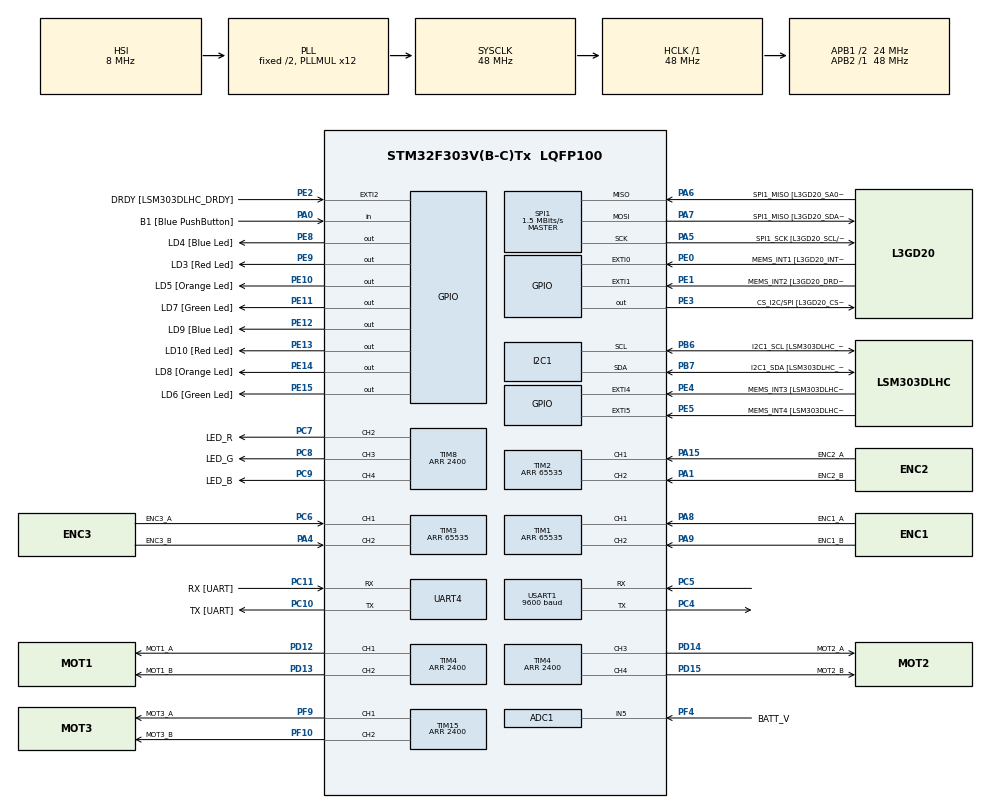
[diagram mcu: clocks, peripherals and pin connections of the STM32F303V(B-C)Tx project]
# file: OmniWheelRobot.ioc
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ADC1.Channel-0\#ChannelRegularConversion=ADC_CHANNEL_5
ADC1.ContinuousConvMode=ENABLE
ADC1.NbrOfConversionFlag=1
ADC1.Offset-0\#ChannelRegularConversion=0
ADC1.OffsetNumber-0\#ChannelRegularConversion=ADC_OFFSET_NONE
ADC1.Rank-0\#ChannelRegularConversion=1
ADC1.SamplingTime-0\#ChannelRegularConversion=ADC_SAMPLETIME_1CYCLE_5
ADC1.master=1
FREERTOS.Tasks01=defaultTask,0,128,StartDefaultTask,Default,NULL,Dynamic,NULL,NULL;sensorTask,0,128,StartSensorTask,Default,NULL,Dynamic,NULL,NULL;controlTask,2,128,StartControlTask,Default,NULL,Dynamic,NULL,NULL
Mcu.Family=STM32F3
Mcu.Name=STM32F303V(B-C)Tx
Mcu.Package=LQFP100
NVIC.PriorityGroup=NVIC_PRIORITYGROUP_4
NVIC.TIM7_IRQn=true\:0\:0\:false\:false\:true\:false
NVIC.TimeBase=TIM7_IRQn
NVIC.TimeBaseIP=TIM7
NVIC.USART1_IRQn=true\:5\:0\:false\:false\:true\:true
PA0.GPIO_Label=B1 [Blue PushButton]
PA0.GPIO_Mode=GPIO_MODE_INPUT
PA0.GPIO_PuPd=GPIO_NOPULL
PA0.Signal=GPIO_Input
PA1.GPIO_Label=ENC2_B
PA1.GPIO_PuPd=GPIO_PULLDOWN
PA1.Signal=S_TIM2_CH2
PA11.GPIO_Label=DM
PA11.Signal=USB_DM
PA12.GPIO_Label=DP
PA12.Signal=USB_DP
PA13.GPIO_Label=SWDIO
PA13.Signal=SYS_JTMS-SWDIO
PA14.GPIO_Label=SWCLK
PA14.Signal=SYS_JTCK-SWCLK
PA15.GPIO_Label=ENC2_A
PA15.GPIO_PuPd=GPIO_PULLDOWN
PA15.Signal=S_TIM2_CH1_ETR
PA4.GPIO_Label=ENC3_B
PA4.GPIO_PuPd=GPIO_PULLDOWN
PA4.Signal=S_TIM3_CH2
PA5.GPIO_Label=SPI1_SCK [L3GD20_SCL/SPC]
PA5.GPIO_Mode=GPIO_MODE_AF_PP
PA5.GPIO_PuPd=GPIO_NOPULL
PA5.GPIO_Speed=GPIO_SPEED_FREQ_LOW
PA5.Mode=Full_Duplex_Master
PA5.Signal=SPI1_SCK
PA6.GPIO_Label=SPI1_MISO [L3GD20_SA0/SDO]
PA6.GPIO_Mode=GPIO_MODE_AF_PP
PA6.GPIO_PuPd=GPIO_NOPULL
PA6.GPIO_Speed=GPIO_SPEED_FREQ_LOW
PA6.Mode=Full_Duplex_Master
PA6.Signal=SPI1_MISO
PA7.GPIO_Label=SPI1_MISO [L3GD20_SDA/SDI/SDO]
PA7.GPIO_Mode=GPIO_MODE_AF_PP
PA7.GPIO_PuPd=GPIO_NOPULL
PA7.GPIO_Speed=GPIO_SPEED_FREQ_LOW
PA7.Mode=Full_Duplex_Master
PA7.Signal=SPI1_MOSI
PA8.GPIO_Label=ENC1_A
PA8.GPIO_PuPd=GPIO_NOPULL
PA8.Signal=S_TIM1_CH1
PA9.GPIO_Label=ENC1_B
PA9.GPIO_PuPd=GPIO_NOPULL
PA9.Signal=S_TIM1_CH2
PB3.GPIO_Label=SWO
PB3.Signal=SYS_JTDO-TRACESWO
PB6.GPIO_FM6=__NULL
PB6.GPIO_Label=I2C1_SCL [LSM303DLHC_SCL]
PB6.GPIO_Mode=GPIO_MODE_AF_OD
PB6.GPIO_PuPd=GPIO_NOPULL
PB6.GPIO_Speed=GPIO_SPEED_FREQ_LOW
PB6.Mode=I2C
PB6.Signal=I2C1_SCL
PB7.GPIO_FM7=__NULL
PB7.GPIO_Label=I2C1_SDA [LSM303DLHC_SDA]
PB7.GPIO_Mode=GPIO_MODE_AF_OD
PB7.GPIO_PuPd=GPIO_NOPULL
PB7.GPIO_Speed=GPIO_SPEED_FREQ_LOW
PB7.Mode=I2C
PB7.Signal=I2C1_SDA
PC10.GPIO_Label=TX [UART]
PC10.Mode=IrDA
PC10.Signal=UART4_TX
PC11.GPIO_Label=RX [UART]
PC11.Mode=IrDA
PC11.Signal=UART4_RX
PC14-OSC32_IN.GPIO_Label=OSC32_IN
PC14-OSC32_IN.Signal=RCC_OSC32_IN
PC15-OSC32_OUT.GPIO_Label=OSC32_OUT
PC15-OSC32_OUT.Signal=RCC_OSC32_OUT
PC4.Mode=Asynchronous
PC4.Signal=USART1_TX
PC5.Mode=Asynchronous
PC5.Signal=USART1_RX
PC6.GPIO_Label=ENC3_A
PC6.GPIO_PuPd=GPIO_PULLDOWN
PC6.Signal=S_TIM3_CH1
PC7.GPIO_Label=LED_R
PC7.Signal=S_TIM8_CH2
PC8.GPIO_Label=LED_G
PC8.Signal=S_TIM8_CH3
PC9.GPIO_Label=LED_B
PC9.Signal=S_TIM8_CH4
PD12.GPIO_Label=MOT1_A
PD12.Signal=S_TIM4_CH1
PD13.GPIO_Label=MOT1_B
PD13.Signal=S_TIM4_CH2
PD14.GPIO_Label=MOT2_A
PD14.Signal=S_TIM4_CH3
PD15.GPIO_Label=MOT2_B
PD15.Signal=S_TIM4_CH4
PE0.GPIO_Label=MEMS_INT1 [L3GD20_INT1]
PE0.GPIO_ModeDefaultEXTI=GPIO_MODE_EVT_RISING
PE0.GPIO_PuPd=GPIO_NOPULL
PE0.Signal=GPXTI0
PE1.GPIO_Label=MEMS_INT2 [L3GD20_DRDY/INT2]
PE1.GPIO_ModeDefaultEXTI=GPIO_MODE_EVT_RISING
PE1.GPIO_PuPd=GPIO_NOPULL
PE1.Signal=GPXTI1
PE10.GPIO_Label=LD5 [Orange Led]
PE10.GPIO_ModeDefaultOutputPP=GPIO_MODE_OUTPUT_PP
PE10.GPIO_PuPd=GPIO_NOPULL
PE10.GPIO_Speed=GPIO_SPEED_FREQ_LOW
PE10.Signal=GPIO_Output
PE11.GPIO_Label=LD7 [Green Led]
PE11.GPIO_ModeDefaultOutputPP=GPIO_MODE_OUTPUT_PP
PE11.GPIO_PuPd=GPIO_NOPULL
PE11.GPIO_Speed=GPIO_SPEED_FREQ_LOW
PE11.Signal=GPIO_Output
PE12.GPIO_Label=LD9 [Blue Led]
PE12.GPIO_ModeDefaultOutputPP=GPIO_MODE_OUTPUT_PP
PE12.GPIO_PuPd=GPIO_NOPULL
PE12.GPIO_Speed=GPIO_SPEED_FREQ_LOW
PE12.Signal=GPIO_Output
PE13.GPIO_Label=LD10 [Red Led]
PE13.GPIO_ModeDefaultOutputPP=GPIO_MODE_OUTPUT_PP
PE13.GPIO_PuPd=GPIO_NOPULL
PE13.GPIO_Speed=GPIO_SPEED_FREQ_LOW
PE13.Signal=GPIO_Output
PE14.GPIO_Label=LD8 [Orange Led]
PE14.GPIO_ModeDefaultOutputPP=GPIO_MODE_OUTPUT_PP
PE14.GPIO_PuPd=GPIO_NOPULL
PE14.GPIO_Speed=GPIO_SPEED_FREQ_LOW
PE14.Signal=GPIO_Output
PE15.GPIO_Label=LD6 [Green Led]
PE15.GPIO_ModeDefaultOutputPP=GPIO_MODE_OUTPUT_PP
PE15.GPIO_PuPd=GPIO_NOPULL
PE15.GPIO_Speed=GPIO_SPEED_FREQ_LOW
PE15.Signal=GPIO_Output
PE2.GPIO_Label=DRDY [LSM303DLHC_DRDY]
PE2.GPIO_ModeDefaultEXTI=GPIO_MODE_EVT_RISING
PE2.GPIO_PuPd=GPIO_NOPULL
PE2.Signal=GPXTI2
PE3.GPIO_Label=CS_I2C/SPI [L3GD20_CS_I2C/SPI]
PE3.GPIO_ModeDefaultOutputPP=GPIO_MODE_OUTPUT_PP
PE3.GPIO_PuPd=GPIO_NOPULL
PE3.GPIO_Speed=GPIO_SPEED_FREQ_LOW
PE3.Signal=GPIO_Output
PE4.GPIO_Label=MEMS_INT3 [LSM303DLHC_INT1]
PE4.GPIO_ModeDefaultEXTI=GPIO_MODE_EVT_RISING
PE4.GPIO_PuPd=GPIO_NOPULL
PE4.Signal=GPXTI4
PE5.GPIO_Label=MEMS_INT4 [LSM303DLHC_INT2]
PE5.GPIO_ModeDefaultEXTI=GPIO_MODE_EVT_RISING
PE5.GPIO_PuPd=GPIO_NOPULL
PE5.Signal=GPXTI5
PE8.GPIO_Label=LD4 [Blue Led]
PE8.GPIO_ModeDefaultOutputPP=GPIO_MODE_OUTPUT_PP
PE8.GPIO_PuPd=GPIO_NOPULL
PE8.GPIO_Speed=GPIO_SPEED_FREQ_LOW
PE8.Signal=GPIO_Output
PE9.GPIO_Label=LD3 [Red Led]
PE9.GPIO_ModeDefaultOutputPP=GPIO_MODE_OUTPUT_PP
PE9.GPIO_PuPd=GPIO_NOPULL
PE9.GPIO_Speed=GPIO_SPEED_FREQ_LOW
PE9.Signal=GPIO_Output
PF0-OSC_IN.GPIO_Label=OSC_IN
PF0-OSC_IN.Signal=RCC_OSC_IN
PF1-OSC_OUT.GPIO_Label=OSC_OUT
PF1-OSC_OUT.Signal=RCC_OSC_OUT
PF10.GPIO_Label=MOT3_B
PF10.Signal=S_TIM15_CH2
PF4.GPIO_Label=BATT_V
PF4.Mode=IN5-Single-Ended
PF4.Signal=ADC1_IN5
PF9.GPIO_Label=MOT3_A
PF9.Signal=S_TIM15_CH1
ProjectManager.HeapSize=0x200
ProjectManager.StackSize=0x400
ProjectManager.TargetToolchain=EWARM
RCC.AHBFreq_Value=48000000
RCC.APB1CLKDivider=RCC_HCLK_DIV2
RCC.APB1Freq_Value=24000000
RCC.APB1TimFreq_Value=48000000
RCC.APB2Freq_Value=48000000
RCC.APB2TimFreq_Value=48000000
RCC.CortexFreq_Value=48000000
RCC.HCLKFreq_Value=48000000
RCC.HSE_VALUE=8000000
RCC.HSI_VALUE=8000000
RCC.LSE_VALUE=32768
RCC.PLLMUL=RCC_PLL_MUL12
RCC.PLLSourceVirtual=RCC_PLLSOURCE_HSI
RCC.SYSCLKFreq_VALUE=48000000
RCC.SYSCLKSourceVirtual=RCC_SYSCLKSOURCE_PLLCLK
RCC.USBFreq_Value=48000000
SH.S_TIM15_CH1.0=TIM15_CH1,PWM Generation1 CH1
SH.S_TIM15_CH2.0=TIM15_CH2,PWM Generation2 CH2
SH.S_TIM1_CH1.0=TIM1_CH1,Encoder_Interface
SH.S_TIM1_CH2.0=TIM1_CH2,Encoder_Interface
SH.S_TIM2_CH1_ETR.0=TIM2_CH1,Encoder_Interface
SH.S_TIM2_CH2.0=TIM2_CH2,Encoder_Interface
SH.S_TIM3_CH1.0=TIM3_CH1,Encoder_Interface
SH.S_TIM3_CH2.0=TIM3_CH2,Encoder_Interface
SH.S_TIM4_CH1.0=TIM4_CH1,PWM Generation1 CH1
SH.S_TIM4_CH2.0=TIM4_CH2,PWM Generation2 CH2
SH.S_TIM4_CH3.0=TIM4_CH3,PWM Generation3 CH3
SH.S_TIM4_CH4.0=TIM4_CH4,PWM Generation4 CH4
SH.S_TIM8_CH2.0=TIM8_CH2,PWM Generation2 CH2
SH.S_TIM8_CH3.0=TIM8_CH3,PWM Generation3 CH3
SH.S_TIM8_CH4.0=TIM8_CH4,PWM Generation4 CH4
SPI1.BaudRatePrescaler=SPI_BAUDRATEPRESCALER_32
SPI1.CalculateBaudRate=1.5 MBits/s
SPI1.Direction=SPI_DIRECTION_2LINES
SPI1.Mode=SPI_MODE_MASTER
SPI1.VirtualType=VM_MASTER
TIM1.EncoderMode=TIM_ENCODERMODE_TI12
TIM1.IC1Filter=3
TIM1.IC1Polarity=TIM_ICPOLARITY_RISING
TIM1.IC2Filter=3
TIM1.IC2Polarity=TIM_ICPOLARITY_RISING
TIM1.Period=65535
TIM15.Channel-PWM\ Generation1\ CH1=TIM_CHANNEL_1
TIM15.Channel-PWM\ Generation2\ CH2=TIM_CHANNEL_2
TIM15.Period=2400
TIM2.EncoderMode=TIM_ENCODERMODE_TI12
TIM2.IC1Filter=3
TIM2.IC1Polarity=TIM_ICPOLARITY_RISING
TIM2.IC2Filter=3
TIM2.IC2Polarity=TIM_ICPOLARITY_RISING
TIM2.Period=65535
TIM3.EncoderMode=TIM_ENCODERMODE_TI12
TIM3.IC1Filter=3
TIM3.IC1Polarity=TIM_ICPOLARITY_RISING
TIM3.IC2Filter=3
TIM3.IC2Polarity=TIM_ICPOLARITY_RISING
TIM3.Period=65535
TIM4.Channel-PWM\ Generation1\ CH1=TIM_CHANNEL_1
TIM4.Channel-PWM\ Generation2\ CH2=TIM_CHANNEL_2
TIM4.Channel-PWM\ Generation3\ CH3=TIM_CHANNEL_3
TIM4.Channel-PWM\ Generation4\ CH4=TIM_CHANNEL_4
TIM4.Period=2400
TIM8.Channel-PWM\ Generation2\ CH2=TIM_CHANNEL_2
TIM8.Channel-PWM\ Generation3\ CH3=TIM_CHANNEL_3
TIM8.Channel-PWM\ Generation4\ CH4=TIM_CHANNEL_4
TIM8.Period=2400
USART1.BaudRate=9600
USART1.VirtualMode-Asynchronous=VM_ASYNC
VP_FREERTOS_VS_ENABLE.Mode=Enabled
VP_SYS_VS_tim7.Mode=TIM7
board=STM32F3DISCOVERY

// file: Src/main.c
/**
  ******************************************************************************
  * File Name          : main.c
  * Description        : Main program body
  ******************************************************************************
  *
  * Copyright (c) 2017 STMicroelectronics International N.V.
  * All rights reserved.
  *
  * Redistribution and use in source and binary forms, with or without
  * modification, are permitted, provided that the following conditions are met:
  *
  * 1. Redistribution of source code must retain the above copyright notice,
  *    this list of conditions and the following disclaimer.
  * 2. Redistributions in binary form must reproduce the above copyright notice,
  *    this list of conditions and the following disclaimer in the documentation
  *    and/or other materials provided with the distribution.
  * 3. Neither the name of STMicroelectronics nor the names of other
  *    contributors to this software may be used to endorse or promote products
  *    derived from this software without specific written permission.
  * 4. This software, including modifications and/or derivative works of this
  *    software, must execute solely and exclusively on microcontroller or
  *    microprocessor devices manufactured by or for STMicroelectronics.
  * 5. Redistribution and use of this software other than as permitted under
  *    this license is void and will automatically terminate your rights under
  *    this license.
  *
  * THIS SOFTWARE IS PROVIDED BY STMICROELECTRONICS AND CONTRIBUTORS "AS IS"
  * AND ANY EXPRESS, IMPLIED OR STATUTORY WARRANTIES, INCLUDING, BUT NOT
  * LIMITED TO, THE IMPLIED WARRANTIES OF MERCHANTABILITY, FITNESS FOR A
  * PARTICULAR PURPOSE AND NON-INFRINGEMENT OF THIRD PARTY INTELLECTUAL PROPERTY
  * RIGHTS ARE DISCLAIMED TO THE FULLEST EXTENT PERMITTED BY LAW. IN NO EVENT
  * SHALL STMICROELECTRONICS OR CONTRIBUTORS BE LIABLE FOR ANY DIRECT, INDIRECT,
  * INCIDENTAL, SPECIAL, EXEMPLARY, OR CONSEQUENTIAL DAMAGES (INCLUDING, BUT NOT
  * LIMITED TO, PROCUREMENT OF SUBSTITUTE GOODS OR SERVICES; LOSS OF USE, DATA,
  * OR PROFITS; OR BUSINESS INTERRUPTION) HOWEVER CAUSED AND ON ANY THEORY OF
  * LIABILITY, WHETHER IN CONTRACT, STRICT LIABILITY, OR TORT (INCLUDING
  * NEGLIGENCE OR OTHERWISE) ARISING IN ANY WAY OUT OF THE USE OF THIS SOFTWARE,
  * EVEN IF ADVISED OF THE POSSIBILITY OF SUCH DAMAGE.
  *
  ******************************************************************************
  */
#include "main.h"
#include "stm32f3xx_hal.h"
#include "cmsis_os.h"

/* USER CODE BEGIN Includes */
#include <math.h>
#include <stdlib.h>
#include <tgmath.h>
#include "filter.h"
/* USER CODE END Includes */

ADC_HandleTypeDef hadc1;

I2C_HandleTypeDef hi2c1;

SPI_HandleTypeDef hspi1;

TIM_HandleTypeDef htim1;
TIM_HandleTypeDef htim2;
TIM_HandleTypeDef htim3;
TIM_HandleTypeDef htim4;
TIM_HandleTypeDef htim8;
TIM_HandleTypeDef htim15;

IRDA_HandleTypeDef hirda4;
UART_HandleTypeDef huart1;

osThreadId defaultTaskHandle;
osThreadId sensorTaskHandle;
osThreadId controlTaskHandle;

/* USER CODE BEGIN PV */
/* Private variables ---------------------------------------------------------*/
//static const uint16_t inputAxis[10]     = {0,  1, 5, 10, 20, 30, 50, 70, 85, 100};
//static const float outCurve[10] = {0, 0.1, 0.25, 0.35, 0.5, 0.55, 0.65, 0.9, 1.3, 2.0};  // komfort

static volatile float radius = 0.1;
static volatile float kaka = 0.0;

static volatile int16_t rawWheel1 = 0;
static volatile int16_t rawWheel2 = 0;
static volatile int16_t rawWheel3 = 0;

static float toMeterFactor = 0.00294;
static float posWheel1 = 0.0;
static float posWheel2 = 0.0;
static float posWheel3 = 0.0;
static float posWheel1_prev = 0.0;
static float posWheel2_prev = 0.0;
static float posWheel3_prev = 0.0;
static volatile float spdWheel1 = 0.0;
static volatile float spdWheel2 = 0.0;
static volatile float spdWheel3 = 0.0;
static volatile float spdWheel1_prev = 0.0;
static volatile float spdWheel2_prev = 0.0;
static volatile float spdWheel3_prev = 0.0;
static float spdWheel1Filtered = 0.0;
static float spdWheel2Filtered = 0.0;
static float spdWheel3Filtered = 0.0;
//static float spdWheel1Norm = 0.0;
static float spdWheel2Norm = 0.0;
static float spdWheel3Norm = 0.0;

static uint8_t receiveBuffer[3]={0};
static volatile float referenceSpeed = 0;
static volatile float referenceAngle = 0;
static volatile float referenceTurn = 0;
static volatile uint16_t wasValid = 0;

static volatile float referenceSpeedWheel1 = 0;
static volatile float referenceSpeedWheel2 = 0;
static volatile float referenceSpeedWheel3 = 0;

static volatile float spdErrorWheel1 = 0;
static volatile float spdErrorWheel1Before = 0;
static volatile float spdIntErrorWheel1 = 0;
//static int16_t forceWheel1 = 0;
static volatile int16_t forceWheel1BeforeSaturation = 0;
static volatile float spdDerivatedErrorWheel1 = 0;
//static int16_t absForceWheel1 = 0;

static volatile float spdErrorWheel2 = 0;
static volatile float spdErrorWheel2Before = 0;
static volatile float spdIntErrorWheel2 = 0;
static int16_t forceWheel2 = 0;
static volatile int16_t forceWheel2BeforeSaturation = 0;
static volatile float spdDerivatedErrorWheel2 = 0;
static int16_t absForceWheel2 = 0;
static float absForceWheel2Float = 0;
static float absForceWheel2_prev = 0;

static volatile float spdErrorWheel3 = 0;
static volatile float spdErrorWheel3Before = 0;
static volatile float spdIntErrorWheel3 = 0;
static int16_t forceWheel3 = 0;
static volatile int16_t forceWheel3BeforeSaturation = 0;
static volatile float spdDerivatedErrorWheel3 = 0;
static int16_t absForceWheel3 = 0;
static float absForceWheel3Float = 0;
static float absForceWheel3_prev = 0;

static volatile float antiWindup = 2;
static volatile float ctrlP = 5;
static volatile float ctrlI = 1;
static volatile float ctrlD = 1;
static volatile float speedCtrlRampThreshold = 30;
static volatile float speedCtrlRampUpRate = 30;
static volatile float speedCtrlRampDownRate = 30;
static volatile uint8_t activeDampingEna = 0;

static volatile float gyroX,gyroY,gyroZ = 0;
static volatile float compassX,compassY,compassZ = 0;
static volatile float compassX_Max,compassY_Max,compassZ_Max = 0;
static volatile float compassX_Min,compassY_Min,compassZ_Min = 0;
static volatile uint8_t initialCompassCalib = 1;

static volatile float compassX_Range,compassY_Range,compassZ_Range = 0;
static volatile float compassX_Norm,compassY_Norm,compassZ_Norm = 0;
static volatile float compassX_NormFiltered,compassY_NormFiltered,compassZ_NormFiltered = 0;
static volatile float compassX_NormFilteredTilted,compassY_NormFilteredTilted = 0.0f;
static volatile float roll,pitch,heading = 0;
static volatile float realRoll, realPitch = 0;
static volatile float temperature,temperatureGyro = 0;
static volatile float fNormAcc,fSinRoll,fCosRoll,fSinPitch,fCosPitch = 0.0f;
static volatile float accX,accY,accZ = 0;
static volatile float accXFiltered,accYFiltered,accZFiltered = 0;
static volatile float accXFilteredKalman,accYFilteredKalman,accZFilteredKalman = 0;
static volatile float accXFilteredLPF,accYFilteredLPF,accZFilteredLPF = 0;

static volatile uint16_t rawADC = 0;
static volatile float batteryVoltage = 0;
static volatile float cellVoltage = 0;
/* USER CODE END PV */

void SystemClock_Config(void);
void Error_Handler(void);
static void MX_GPIO_Init(void);
static void MX_TIM2_Init(void);
static void MX_TIM1_Init(void);
static void MX_TIM3_Init(void);
static void MX_TIM4_Init(void);
static void MX_TIM15_Init(void);
static void MX_USART1_UART_Init(void);
static void MX_I2C1_Init(void);
static void MX_SPI1_Init(void);
static void MX_UART4_IRDA_Init(void);
static void MX_TIM8_Init(void);
static void MX_ADC1_Init(void);
void StartDefaultTask(void const * argument);
void StartSensorTask(void const * argument);
void StartControlTask(void const * argument);

void HAL_TIM_MspPostInit(TIM_HandleTypeDef *htim);

/* USER CODE BEGIN PFP */
/* Private function prototypes -----------------------------------------------*/

/* USER CODE END PFP */

/* USER CODE BEGIN 0 */
#define PI 3.14159265
#define COMPASS_X_MAX 290
#define COMPASS_X_MIN -740
#define COMPASS_Y_MAX -1290
#define COMPASS_Y_MIN -2325
#define COMPASS_Z_MAX 150
#define COMPASS_Z_MIN -970

#define BATTERYCELLS 3
#define NORMALVOLTAGE 3.6
#define LOWVOLTAGE 3.0
#define CRITICALVOLTAGE 2.6
#define INDICATORBRIGHTNESS 0.1
/* USER CODE END 0 */

int main(void)
{

  /* MCU Configuration----------------------------------------------------------*/

  /* Reset of all peripherals, Initializes the Flash interface and the Systick. */
  HAL_Init();

  /* Configure the system clock */
  SystemClock_Config();

  /* Initialize all configured peripherals */
  MX_GPIO_Init();
  MX_TIM2_Init();
  MX_TIM1_Init();
  MX_TIM3_Init();
  MX_TIM4_Init();
  MX_TIM15_Init();
  MX_USART1_UART_Init();
  MX_I2C1_Init();
  MX_SPI1_Init();
  MX_UART4_IRDA_Init();
  MX_TIM8_Init();
  MX_ADC1_Init();

  /* USER CODE BEGIN 2 */
  HAL_TIM_PWM_Start(&htim4, TIM_CHANNEL_1);
  HAL_TIMEx_PWMN_Start(&htim4, TIM_CHANNEL_1);
  HAL_TIM_PWM_Start(&htim4, TIM_CHANNEL_2);
  HAL_TIMEx_PWMN_Start(&htim4, TIM_CHANNEL_2);
  HAL_TIM_PWM_Start(&htim4, TIM_CHANNEL_3);
  HAL_TIMEx_PWMN_Start(&htim4, TIM_CHANNEL_3);
  HAL_TIM_PWM_Start(&htim4, TIM_CHANNEL_4);
  HAL_TIMEx_PWMN_Start(&htim4, TIM_CHANNEL_4);

  HAL_TIM_PWM_Start(&htim15, TIM_CHANNEL_1);
  HAL_TIMEx_PWMN_Start(&htim15, TIM_CHANNEL_1);
  HAL_TIM_PWM_Start(&htim15, TIM_CHANNEL_2);
  HAL_TIMEx_PWMN_Start(&htim15, TIM_CHANNEL_2);

  HAL_TIM_PWM_Start(&htim8, TIM_CHANNEL_2);
  HAL_TIMEx_PWMN_Start(&htim8, TIM_CHANNEL_2);
  HAL_TIM_PWM_Start(&htim8, TIM_CHANNEL_3);
  HAL_TIMEx_PWMN_Start(&htim8, TIM_CHANNEL_3);
  HAL_TIM_PWM_Start(&htim8, TIM_CHANNEL_4);
  HAL_TIMEx_PWMN_Start(&htim8, TIM_CHANNEL_4);

  //motor1
  TIM4->CCR1 = 0*2400/100;
  TIM4->CCR2 = 0*2400/100;
  //motor2
  TIM4->CCR3 = 0*2400/100;
  TIM4->CCR4 = 0*2400/100;
  //motor3
  TIM15->CCR1 = 0*2400/100;
  TIM15->CCR2 = 0*2400/100;

  //led R
  TIM8->CCR2 = 0*2400/100;
  //led B
  TIM8->CCR3 = 0*2400/100;
  //led G
  TIM8->CCR4 = 0*2400/100;

  HAL_TIM_Encoder_Start(&htim1,TIM_CHANNEL_ALL);
  HAL_TIM_Encoder_Start(&htim2,TIM_CHANNEL_ALL);
  HAL_TIM_Encoder_Start(&htim3,TIM_CHANNEL_ALL);

  HAL_ADC_Start(&hadc1);

  BSP_PB_Init(BUTTON_USER, BUTTON_MODE_EXTI);
  BSP_LED_Init(LED4);
  BSP_LED_Init(LED3);
  BSP_LED_Init(LED5);
  BSP_LED_Init(LED7);
  BSP_LED_Init(LED9);
  BSP_LED_Init(LED10);
  BSP_LED_Init(LED8);
  BSP_LED_Init(LED6);

  BSP_GYRO_Init();
  BSP_ACCELERO_Init();
  MAGNET_Init();

  /* USER CODE END 2 */

  /* Create the thread(s) */
  /* definition and creation of defaultTask */
  osThreadDef(defaultTask, StartDefaultTask, osPriorityNormal, 0, 128);
  defaultTaskHandle = osThreadCreate(osThread(defaultTask), NULL);

  /* definition and creation of sensorTask */
  osThreadDef(sensorTask, StartSensorTask, osPriorityNormal, 0, 128);
  sensorTaskHandle = osThreadCreate(osThread(sensorTask), NULL);

  /* definition and creation of controlTask */
  osThreadDef(controlTask, StartControlTask, osPriorityHigh, 0, 128);
  controlTaskHandle = osThreadCreate(osThread(controlTask), NULL);

  /* Start scheduler */
  osKernelStart();

  /* We should never get here as control is now taken by the scheduler */

  /* Infinite loop */
  while (1)
  {

  }

}

/** System Clock Configuration
*/
void SystemClock_Config(void)
{

  RCC_OscInitTypeDef RCC_OscInitStruct;
  RCC_ClkInitTypeDef RCC_ClkInitStruct;
  RCC_PeriphCLKInitTypeDef PeriphClkInit;

    /**Initializes the CPU, AHB and APB busses clocks
    */
  RCC_OscInitStruct.OscillatorType = RCC_OSCILLATORTYPE_HSI;
  RCC_OscInitStruct.HSIState = RCC_HSI_ON;
  RCC_OscInitStruct.HSICalibrationValue = 16;
  RCC_OscInitStruct.PLL.PLLState = RCC_PLL_ON;
  RCC_OscInitStruct.PLL.PLLSource = RCC_PLLSOURCE_HSI;
  RCC_OscInitStruct.PLL.PLLMUL = RCC_PLL_MUL12;
  if (HAL_RCC_OscConfig(&RCC_OscInitStruct) != HAL_OK)
  {
    Error_Handler();
  }

    /**Initializes the CPU, AHB and APB busses clocks
    */
  RCC_ClkInitStruct.ClockType = RCC_CLOCKTYPE_HCLK|RCC_CLOCKTYPE_SYSCLK
                              |RCC_CLOCKTYPE_PCLK1|RCC_CLOCKTYPE_PCLK2;
  RCC_ClkInitStruct.SYSCLKSource = RCC_SYSCLKSOURCE_PLLCLK;
  RCC_ClkInitStruct.AHBCLKDivider = RCC_SYSCLK_DIV1;
  RCC_ClkInitStruct.APB1CLKDivider = RCC_HCLK_DIV2;
  RCC_ClkInitStruct.APB2CLKDivider = RCC_HCLK_DIV1;

  if (HAL_RCC_ClockConfig(&RCC_ClkInitStruct, FLASH_LATENCY_1) != HAL_OK)
  {
    Error_Handler();
  }

  PeriphClkInit.PeriphClockSelection = RCC_PERIPHCLK_USART1|RCC_PERIPHCLK_UART4
                              |RCC_PERIPHCLK_I2C1|RCC_PERIPHCLK_TIM1
                              |RCC_PERIPHCLK_TIM8|RCC_PERIPHCLK_ADC12;
  PeriphClkInit.Usart1ClockSelection = RCC_USART1CLKSOURCE_PCLK2;
  PeriphClkInit.Uart4ClockSelection = RCC_UART4CLKSOURCE_PCLK1;
  PeriphClkInit.Adc12ClockSelection = RCC_ADC12PLLCLK_DIV1;
  PeriphClkInit.I2c1ClockSelection = RCC_I2C1CLKSOURCE_HSI;
  PeriphClkInit.Tim1ClockSelection = RCC_TIM1CLK_HCLK;
  PeriphClkInit.Tim8ClockSelection = RCC_TIM8CLK_HCLK;
  if (HAL_RCCEx_PeriphCLKConfig(&PeriphClkInit) != HAL_OK)
  {
    Error_Handler();
  }

    /**Configure the Systick interrupt time
    */
  HAL_SYSTICK_Config(HAL_RCC_GetHCLKFreq()/1000);

    /**Configure the Systick
    */
  HAL_SYSTICK_CLKSourceConfig(SYSTICK_CLKSOURCE_HCLK);

  /* SysTick_IRQn interrupt configuration */
  HAL_NVIC_SetPriority(SysTick_IRQn, 15, 0);
}

/* ADC1 init function */
static void MX_ADC1_Init(void)
{

  ADC_MultiModeTypeDef multimode;
  ADC_ChannelConfTypeDef sConfig;

    /**Common config
    */
  hadc1.Instance = ADC1;
  hadc1.Init.ClockPrescaler = ADC_CLOCK_ASYNC_DIV1;
  hadc1.Init.Resolution = ADC_RESOLUTION_12B;
  hadc1.Init.ScanConvMode = ADC_SCAN_DISABLE;
  hadc1.Init.ContinuousConvMode = ENABLE;
  hadc1.Init.DiscontinuousConvMode = DISABLE;
  hadc1.Init.ExternalTrigConvEdge = ADC_EXTERNALTRIGCONVEDGE_NONE;
  hadc1.Init.ExternalTrigConv = ADC_SOFTWARE_START;
  hadc1.Init.DataAlign = ADC_DATAALIGN_RIGHT;
  hadc1.Init.NbrOfConversion = 1;
  hadc1.Init.DMAContinuousRequests = DISABLE;
  hadc1.Init.EOCSelection = ADC_EOC_SINGLE_CONV;
  hadc1.Init.LowPowerAutoWait = DISABLE;
  hadc1.Init.Overrun = ADC_OVR_DATA_OVERWRITTEN;
  if (HAL_ADC_Init(&hadc1) != HAL_OK)
  {
    Error_Handler();
  }

    /**Configure the ADC multi-mode
    */
  multimode.Mode = ADC_MODE_INDEPENDENT;
  if (HAL_ADCEx_MultiModeConfigChannel(&hadc1, &multimode) != HAL_OK)
  {
    Error_Handler();
  }

    /**Configure Regular Channel
    */
  sConfig.Channel = ADC_CHANNEL_5;
  sConfig.Rank = 1;
  sConfig.SingleDiff = ADC_SINGLE_ENDED;
  sConfig.SamplingTime = ADC_SAMPLETIME_1CYCLE_5;
  sConfig.OffsetNumber = ADC_OFFSET_NONE;
  sConfig.Offset = 0;
  if (HAL_ADC_ConfigChannel(&hadc1, &sConfig) != HAL_OK)
  {
    Error_Handler();
  }

}

/* I2C1 init function */
static void MX_I2C1_Init(void)
{

  hi2c1.Instance = I2C1;
  hi2c1.Init.Timing = 0x2000090E;
  hi2c1.Init.OwnAddress1 = 0;
  hi2c1.Init.AddressingMode = I2C_ADDRESSINGMODE_7BIT;
  hi2c1.Init.DualAddressMode = I2C_DUALADDRESS_DISABLE;
  hi2c1.Init.OwnAddress2 = 0;
  hi2c1.Init.OwnAddress2Masks = I2C_OA2_NOMASK;
  hi2c1.Init.GeneralCallMode = I2C_GENERALCALL_DISABLE;
  hi2c1.Init.NoStretchMode = I2C_NOSTRETCH_DISABLE;
  if (HAL_I2C_Init(&hi2c1) != HAL_OK)
  {
    Error_Handler();
  }

    /**Configure Analogue filter
    */
  if (HAL_I2CEx_ConfigAnalogFilter(&hi2c1, I2C_ANALOGFILTER_ENABLE) != HAL_OK)
  {
    Error_Handler();
  }

    /**Configure Digital filter
    */
  if (HAL_I2CEx_ConfigDigitalFilter(&hi2c1, 0) != HAL_OK)
  {
    Error_Handler();
  }

}

/* SPI1 init function */
static void MX_SPI1_Init(void)
{

  hspi1.Instance = SPI1;
  hspi1.Init.Mode = SPI_MODE_MASTER;
  hspi1.Init.Direction = SPI_DIRECTION_2LINES;
  hspi1.Init.DataSize = SPI_DATASIZE_4BIT;
  hspi1.Init.CLKPolarity = SPI_POLARITY_LOW;
  hspi1.Init.CLKPhase = SPI_PHASE_1EDGE;
  hspi1.Init.NSS = SPI_NSS_SOFT;
  hspi1.Init.BaudRatePrescaler = SPI_BAUDRATEPRESCALER_32;
  hspi1.Init.FirstBit = SPI_FIRSTBIT_MSB;
  hspi1.Init.TIMode = SPI_TIMODE_DISABLE;
  hspi1.Init.CRCCalculation = SPI_CRCCALCULATION_DISABLE;
  hspi1.Init.CRCPolynomial = 7;
  hspi1.Init.CRCLength = SPI_CRC_LENGTH_DATASIZE;
  hspi1.Init.NSSPMode = SPI_NSS_PULSE_ENABLE;
  if (HAL_SPI_Init(&hspi1) != HAL_OK)
  {
    Error_Handler();
  }

}

/* TIM1 init function */
static void MX_TIM1_Init(void)
{

  TIM_Encoder_InitTypeDef sConfig;
  TIM_MasterConfigTypeDef sMasterConfig;

  htim1.Instance = TIM1;
  htim1.Init.Prescaler = 0;
  htim1.Init.CounterMode = TIM_COUNTERMODE_UP;
  htim1.Init.Period = 65535;
  htim1.Init.ClockDivision = TIM_CLOCKDIVISION_DIV1;
  htim1.Init.RepetitionCounter = 0;
  htim1.Init.AutoReloadPreload = TIM_AUTORELOAD_PRELOAD_DISABLE;
  sConfig.EncoderMode = TIM_ENCODERMODE_TI12;
  sConfig.IC1Polarity = TIM_ICPOLARITY_RISING;
  sConfig.IC1Selection = TIM_ICSELECTION_DIRECTTI;
  sConfig.IC1Prescaler = TIM_ICPSC_DIV1;
  sConfig.IC1Filter = 3;
  sConfig.IC2Polarity = TIM_ICPOLARITY_RISING;
  sConfig.IC2Selection = TIM_ICSELECTION_DIRECTTI;
  sConfig.IC2Prescaler = TIM_ICPSC_DIV1;
  sConfig.IC2Filter = 3;
  if (HAL_TIM_Encoder_Init(&htim1, &sConfig) != HAL_OK)
  {
    Error_Handler();
  }

  sMasterConfig.MasterOutputTrigger = TIM_TRGO_RESET;
  sMasterConfig.MasterOutputTrigger2 = TIM_TRGO2_RESET;
  sMasterConfig.MasterSlaveMode = TIM_MASTERSLAVEMODE_DISABLE;
  if (HAL_TIMEx_MasterConfigSynchronization(&htim1, &sMasterConfig) != HAL_OK)
  {
    Error_Handler();
  }

}

/* TIM2 init function */
static void MX_TIM2_Init(void)
{

  TIM_Encoder_InitTypeDef sConfig;
  TIM_MasterConfigTypeDef sMasterConfig;

  htim2.Instance = TIM2;
  htim2.Init.Prescaler = 0;
  htim2.Init.CounterMode = TIM_COUNTERMODE_UP;
  htim2.Init.Period = 65535;
  htim2.Init.ClockDivision = TIM_CLOCKDIVISION_DIV1;
  htim2.Init.AutoReloadPreload = TIM_AUTORELOAD_PRELOAD_DISABLE;
  sConfig.EncoderMode = TIM_ENCODERMODE_TI12;
  sConfig.IC1Polarity = TIM_ICPOLARITY_RISING;
  sConfig.IC1Selection = TIM_ICSELECTION_DIRECTTI;
  sConfig.IC1Prescaler = TIM_ICPSC_DIV1;
  sConfig.IC1Filter = 3;
  sConfig.IC2Polarity = TIM_ICPOLARITY_RISING;
  sConfig.IC2Selection = TIM_ICSELECTION_DIRECTTI;
  sConfig.IC2Prescaler = TIM_ICPSC_DIV1;
  sConfig.IC2Filter = 3;
  if (HAL_TIM_Encoder_Init(&htim2, &sConfig) != HAL_OK)
  {
    Error_Handler();
  }

  sMasterConfig.MasterOutputTrigger = TIM_TRGO_RESET;
  sMasterConfig.MasterSlaveMode = TIM_MASTERSLAVEMODE_DISABLE;
  if (HAL_TIMEx_MasterConfigSynchronization(&htim2, &sMasterConfig) != HAL_OK)
  {
    Error_Handler();
  }

}

/* TIM3 init function */
static void MX_TIM3_Init(void)
{

  TIM_Encoder_InitTypeDef sConfig;
  TIM_MasterConfigTypeDef sMasterConfig;

  htim3.Instance = TIM3;
  htim3.Init.Prescaler = 0;
  htim3.Init.CounterMode = TIM_COUNTERMODE_UP;
  htim3.Init.Period = 65535;
  htim3.Init.ClockDivision = TIM_CLOCKDIVISION_DIV1;
  htim3.Init.AutoReloadPreload = TIM_AUTORELOAD_PRELOAD_DISABLE;
  sConfig.EncoderMode = TIM_ENCODERMODE_TI12;
  sConfig.IC1Polarity = TIM_ICPOLARITY_RISING;
  sConfig.IC1Selection = TIM_ICSELECTION_DIRECTTI;
  sConfig.IC1Prescaler = TIM_ICPSC_DIV1;
  sConfig.IC1Filter = 3;
  sConfig.IC2Polarity = TIM_ICPOLARITY_RISING;
  sConfig.IC2Selection = TIM_ICSELECTION_DIRECTTI;
  sConfig.IC2Prescaler = TIM_ICPSC_DIV1;
  sConfig.IC2Filter = 3;
  if (HAL_TIM_Encoder_Init(&htim3, &sConfig) != HAL_OK)
  {
    Error_Handler();
  }

  sMasterConfig.MasterOutputTrigger = TIM_TRGO_RESET;
  sMasterConfig.MasterSlaveMode = TIM_MASTERSLAVEMODE_DISABLE;
  if (HAL_TIMEx_MasterConfigSynchronization(&htim3, &sMasterConfig) != HAL_OK)
  {
    Error_Handler();
  }

}

/* TIM4 init function */
static void MX_TIM4_Init(void)
{

  TIM_MasterConfigTypeDef sMasterConfig;
  TIM_OC_InitTypeDef sConfigOC;

  htim4.Instance = TIM4;
  htim4.Init.Prescaler = 0;
  htim4.Init.CounterMode = TIM_COUNTERMODE_UP;
  htim4.Init.Period = 2400;
  htim4.Init.ClockDivision = TIM_CLOCKDIVISION_DIV1;
  htim4.Init.AutoReloadPreload = TIM_AUTORELOAD_PRELOAD_DISABLE;
  if (HAL_TIM_PWM_Init(&htim4) != HAL_OK)
  {
    Error_Handler();
  }

  sMasterConfig.MasterOutputTrigger = TIM_TRGO_RESET;
  sMasterConfig.MasterSlaveMode = TIM_MASTERSLAVEMODE_DISABLE;
  if (HAL_TIMEx_MasterConfigSynchronization(&htim4, &sMasterConfig) != HAL_OK)
  {
    Error_Handler();
  }

  sConfigOC.OCMode = TIM_OCMODE_PWM1;
  sConfigOC.Pulse = 0;
  sConfigOC.OCPolarity = TIM_OCPOLARITY_HIGH;
  sConfigOC.OCFastMode = TIM_OCFAST_DISABLE;
  if (HAL_TIM_PWM_ConfigChannel(&htim4, &sConfigOC, TIM_CHANNEL_1) != HAL_OK)
  {
    Error_Handler();
  }

  if (HAL_TIM_PWM_ConfigChannel(&htim4, &sConfigOC, TIM_CHANNEL_2) != HAL_OK)
  {
    Error_Handler();
  }

  if (HAL_TIM_PWM_ConfigChannel(&htim4, &sConfigOC, TIM_CHANNEL_3) != HAL_OK)
  {
    Error_Handler();
  }

  if (HAL_TIM_PWM_ConfigChannel(&htim4, &sConfigOC, TIM_CHANNEL_4) != HAL_OK)
  {
    Error_Handler();
  }

  HAL_TIM_MspPostInit(&htim4);

}

/* TIM8 init function */
static void MX_TIM8_Init(void)
{

  TIM_MasterConfigTypeDef sMasterConfig;
  TIM_OC_InitTypeDef sConfigOC;
  TIM_BreakDeadTimeConfigTypeDef sBreakDeadTimeConfig;

  htim8.Instance = TIM8;
  htim8.Init.Prescaler = 0;
  htim8.Init.CounterMode = TIM_COUNTERMODE_UP;
  htim8.Init.Period = 2400;
  htim8.Init.ClockDivision = TIM_CLOCKDIVISION_DIV1;
  htim8.Init.RepetitionCounter = 0;
  htim8.Init.AutoReloadPreload = TIM_AUTORELOAD_PRELOAD_DISABLE;
  if (HAL_TIM_PWM_Init(&htim8) != HAL_OK)
  {
    Error_Handler();
  }

  sMasterConfig.MasterOutputTrigger = TIM_TRGO_RESET;
  sMasterConfig.MasterOutputTrigger2 = TIM_TRGO2_RESET;
  sMasterConfig.MasterSlaveMode = TIM_MASTERSLAVEMODE_DISABLE;
  if (HAL_TIMEx_MasterConfigSynchronization(&htim8, &sMasterConfig) != HAL_OK)
  {
    Error_Handler();
  }

  sConfigOC.OCMode = TIM_OCMODE_PWM1;
  sConfigOC.Pulse = 0;
  sConfigOC.OCPolarity = TIM_OCPOLARITY_HIGH;
  sConfigOC.OCNPolarity = TIM_OCNPOLARITY_HIGH;
  sConfigOC.OCFastMode = TIM_OCFAST_DISABLE;
  sConfigOC.OCIdleState = TIM_OCIDLESTATE_RESET;
  sConfigOC.OCNIdleState = TIM_OCNIDLESTATE_RESET;
  if (HAL_TIM_PWM_ConfigChannel(&htim8, &sConfigOC, TIM_CHANNEL_2) != HAL_OK)
  {
    Error_Handler();
  }

  if (HAL_TIM_PWM_ConfigChannel(&htim8, &sConfigOC, TIM_CHANNEL_3) != HAL_OK)
  {
    Error_Handler();
  }

  if (HAL_TIM_PWM_ConfigChannel(&htim8, &sConfigOC, TIM_CHANNEL_4) != HAL_OK)
  {
    Error_Handler();
  }

  sBreakDeadTimeConfig.OffStateRunMode = TIM_OSSR_DISABLE;
  sBreakDeadTimeConfig.OffStateIDLEMode = TIM_OSSI_DISABLE;
  sBreakDeadTimeConfig.LockLevel = TIM_LOCKLEVEL_OFF;
  sBreakDeadTimeConfig.DeadTime = 0;
  sBreakDeadTimeConfig.BreakState = TIM_BREAK_DISABLE;
  sBreakDeadTimeConfig.BreakPolarity = TIM_BREAKPOLARITY_HIGH;
  sBreakDeadTimeConfig.BreakFilter = 0;
  sBreakDeadTimeConfig.Break2State = TIM_BREAK2_DISABLE;
  sBreakDeadTimeConfig.Break2Polarity = TIM_BREAK2POLARITY_HIGH;
  sBreakDeadTimeConfig.Break2Filter = 0;
  sBreakDeadTimeConfig.AutomaticOutput = TIM_AUTOMATICOUTPUT_DISABLE;
  if (HAL_TIMEx_ConfigBreakDeadTime(&htim8, &sBreakDeadTimeConfig) != HAL_OK)
  {
    Error_Handler();
  }

  HAL_TIM_MspPostInit(&htim8);

}

/* TIM15 init function */
static void MX_TIM15_Init(void)
{

  TIM_MasterConfigTypeDef sMasterConfig;
  TIM_OC_InitTypeDef sConfigOC;
  TIM_BreakDeadTimeConfigTypeDef sBreakDeadTimeConfig;

  htim15.Instance = TIM15;
  htim15.Init.Prescaler = 0;
  htim15.Init.CounterMode = TIM_COUNTERMODE_UP;
  htim15.Init.Period = 2400;
  htim15.Init.ClockDivision = TIM_CLOCKDIVISION_DIV1;
  htim15.Init.RepetitionCounter = 0;
  htim15.Init.AutoReloadPreload = TIM_AUTORELOAD_PRELOAD_DISABLE;
  if (HAL_TIM_PWM_Init(&htim15) != HAL_OK)
  {
    Error_Handler();
  }

  sMasterConfig.MasterOutputTrigger = TIM_TRGO_RESET;
  sMasterConfig.MasterSlaveMode = TIM_MASTERSLAVEMODE_DISABLE;
  if (HAL_TIMEx_MasterConfigSynchronization(&htim15, &sMasterConfig) != HAL_OK)
  {
    Error_Handler();
  }

  sConfigOC.OCMode = TIM_OCMODE_PWM1;
  sConfigOC.Pulse = 0;
  sConfigOC.OCPolarity = TIM_OCPOLARITY_HIGH;
  sConfigOC.OCNPolarity = TIM_OCNPOLARITY_HIGH;
  sConfigOC.OCFastMode = TIM_OCFAST_DISABLE;
  sConfigOC.OCIdleState = TIM_OCIDLESTATE_RESET;
  sConfigOC.OCNIdleState = TIM_OCNIDLESTATE_RESET;
  if (HAL_TIM_PWM_ConfigChannel(&htim15, &sConfigOC, TIM_CHANNEL_1) != HAL_OK)
  {
    Error_Handler();
  }

  if (HAL_TIM_PWM_ConfigChannel(&htim15, &sConfigOC, TIM_CHANNEL_2) != HAL_OK)
  {
    Error_Handler();
  }

  sBreakDeadTimeConfig.OffStateRunMode = TIM_OSSR_DISABLE;
  sBreakDeadTimeConfig.OffStateIDLEMode = TIM_OSSI_DISABLE;
  sBreakDeadTimeConfig.LockLevel = TIM_LOCKLEVEL_OFF;
  sBreakDeadTimeConfig.DeadTime = 0;
  sBreakDeadTimeConfig.BreakState = TIM_BREAK_DISABLE;
  sBreakDeadTimeConfig.BreakPolarity = TIM_BREAKPOLARITY_HIGH;
  sBreakDeadTimeConfig.BreakFilter = 0;
  sBreakDeadTimeConfig.AutomaticOutput = TIM_AUTOMATICOUTPUT_DISABLE;
  if (HAL_TIMEx_ConfigBreakDeadTime(&htim15, &sBreakDeadTimeConfig) != HAL_OK)
  {
    Error_Handler();
  }

  HAL_TIM_MspPostInit(&htim15);

}

/* UART4 init function */
static void MX_UART4_IRDA_Init(void)
{

  hirda4.Instance = UART4;
  hirda4.Init.BaudRate = 115200;
  hirda4.Init.WordLength = IRDA_WORDLENGTH_8B;
  hirda4.Init.Parity = IRDA_PARITY_NONE;
  hirda4.Init.Mode = IRDA_MODE_TX_RX;
  hirda4.Init.Prescaler = 1;
  hirda4.Init.PowerMode = IRDA_POWERMODE_NORMAL;
  if (HAL_IRDA_Init(&hirda4) != HAL_OK)
  {
    Error_Handler();
  }

}

/* USART1 init function */
static void MX_USART1_UART_Init(void)
{

  huart1.Instance = USART1;
  huart1.Init.BaudRate = 9600;
  huart1.Init.WordLength = UART_WORDLENGTH_8B;
  huart1.Init.StopBits = UART_STOPBITS_1;
  huart1.Init.Parity = UART_PARITY_NONE;
  huart1.Init.Mode = UART_MODE_TX_RX;
  huart1.Init.HwFlowCtl = UART_HWCONTROL_NONE;
  huart1.Init.OverSampling = UART_OVERSAMPLING_16;
  huart1.Init.OneBitSampling = UART_ONE_BIT_SAMPLE_DISABLE;
  huart1.AdvancedInit.AdvFeatureInit = UART_ADVFEATURE_NO_INIT;
  if (HAL_UART_Init(&huart1) != HAL_OK)
  {
    Error_Handler();
  }

}

/** Configure pins as
        * Analog
        * Input
        * Output
        * EVENT_OUT
        * EXTI
     PA11   ------> USB_DM
     PA12   ------> USB_DP
*/
static void MX_GPIO_Init(void)
{

  GPIO_InitTypeDef GPIO_InitStruct;

  /* GPIO Ports Clock Enable */
  __HAL_RCC_GPIOE_CLK_ENABLE();
  __HAL_RCC_GPIOC_CLK_ENABLE();
  __HAL_RCC_GPIOF_CLK_ENABLE();
  __HAL_RCC_GPIOA_CLK_ENABLE();
  __HAL_RCC_GPIOD_CLK_ENABLE();
  __HAL_RCC_GPIOB_CLK_ENABLE();

  /*Configure GPIO pin Output Level */
  HAL_GPIO_WritePin(GPIOE, CS_I2C_SPI_Pin|LD4_Pin|LD3_Pin|LD5_Pin
                          |LD7_Pin|LD9_Pin|LD10_Pin|LD8_Pin
                          |LD6_Pin, GPIO_PIN_RESET);

  /*Configure GPIO pins : DRDY_Pin MEMS_INT3_Pin MEMS_INT4_Pin MEMS_INT1_Pin
                           MEMS_INT2_Pin */
  GPIO_InitStruct.Pin = DRDY_Pin|MEMS_INT3_Pin|MEMS_INT4_Pin|MEMS_INT1_Pin
                          |MEMS_INT2_Pin;
  GPIO_InitStruct.Mode = GPIO_MODE_EVT_RISING;
  GPIO_InitStruct.Pull = GPIO_NOPULL;
  HAL_GPIO_Init(GPIOE, &GPIO_InitStruct);

  /*Configure GPIO pins : CS_I2C_SPI_Pin LD4_Pin LD3_Pin LD5_Pin
                           LD7_Pin LD9_Pin LD10_Pin LD8_Pin
                           LD6_Pin */
  GPIO_InitStruct.Pin = CS_I2C_SPI_Pin|LD4_Pin|LD3_Pin|LD5_Pin
                          |LD7_Pin|LD9_Pin|LD10_Pin|LD8_Pin
                          |LD6_Pin;
  GPIO_InitStruct.Mode = GPIO_MODE_OUTPUT_PP;
  GPIO_InitStruct.Pull = GPIO_NOPULL;
  GPIO_InitStruct.Speed = GPIO_SPEED_FREQ_LOW;
  HAL_GPIO_Init(GPIOE, &GPIO_InitStruct);

  /*Configure GPIO pin : B1_Pin */
  GPIO_InitStruct.Pin = B1_Pin;
  GPIO_InitStruct.Mode = GPIO_MODE_INPUT;
  GPIO_InitStruct.Pull = GPIO_NOPULL;
  HAL_GPIO_Init(B1_GPIO_Port, &GPIO_InitStruct);

  /*Configure GPIO pins : DM_Pin DP_Pin */
  GPIO_InitStruct.Pin = DM_Pin|DP_Pin;
  GPIO_InitStruct.Mode = GPIO_MODE_AF_PP;
  GPIO_InitStruct.Pull = GPIO_NOPULL;
  GPIO_InitStruct.Speed = GPIO_SPEED_FREQ_HIGH;
  GPIO_InitStruct.Alternate = GPIO_AF14_USB;
  HAL_GPIO_Init(GPIOA, &GPIO_InitStruct);

}

/* USER CODE BEGIN 4 */
float filter2 (float avg, float input, float alpha) {
  avg = (alpha * input) + (1.0 - alpha) * avg;
  return avg;
}

float absFloat(float num){
  if (num >= 0) return num;
  else return num*-1;
}

void saturateInteger(int16_t* i, int16_t min, int16_t max) {
  int16_t val = *i;
  if (val < min) val = min;
  else if (val > max) val = max;
  *i = val;
}
void saturateFloat(float* i, float min, float max) {
  float val = *i;
  if (val < min) val = min;
  else if (val > max) val = max;
  *i = val;
}

void saturateVolatileFloat(volatile float* i, float min, float max) {
  float val = *i;
  if (val < min) val = min;
  else if (val > max) val = max;
  *i = val;
}
/* USER CODE END 4 */

/* StartDefaultTask function */
void StartDefaultTask(void const * argument)
{

  /* USER CODE BEGIN 5 */
  uint16_t taskCounter = 0;
  uint16_t heartBeatCounter = 0;

  float voltageFullRange = NORMALVOLTAGE - LOWVOLTAGE;
  float voltageInRange = 0;
  float voltageRatio = 0;
  /* Infinite loop */
  for(;;)
  {
    taskCounter++;
    wasValid++;

    HAL_UART_Receive_IT(&huart1,receiveBuffer,3);

    if ((receiveBuffer[2] == 0xFF) || (receiveBuffer[1] == 0xFF) || (receiveBuffer[0] == 0xFF)){
      if ((receiveBuffer[0] == 0xFF) && (receiveBuffer[1] <=100) && (receiveBuffer[2] <=180)){
        referenceSpeed = receiveBuffer[1] / 5.0 * 2;
        referenceAngle = receiveBuffer[2] * 2.0;
        referenceTurn = 0;
        wasValid = 0;
      }
      else if ((receiveBuffer[1] == 0xFF) && (receiveBuffer[2] <=100) && (receiveBuffer[0] <=180)){
        referenceSpeed = receiveBuffer[2] / 5.0;
        referenceAngle = receiveBuffer[0] * 2.0;
        referenceTurn = 0;
        wasValid = 0;
      }
      else if ((receiveBuffer[2] == 0xFF) && (receiveBuffer[0] <=100) && (receiveBuffer[1] <=180)){
        referenceSpeed = receiveBuffer[0] / 5.0;
        referenceAngle = receiveBuffer[1] * 2.0;
        referenceTurn = 0;
        wasValid = 0;
      }
      else {
        referenceSpeed = 0;
        referenceAngle = 0;
        referenceTurn = 0;
      }
    }
    else {
      referenceSpeed = 0;
      referenceAngle = 0;
      referenceTurn = 0;
    }

    if (wasValid > 50){
      referenceSpeed = 0;
      referenceAngle = 0;
      referenceTurn = 0;
    }

    CompassLED(heading);

    if (cellVoltage >= NORMALVOLTAGE) {
      TIM8->CCR2 = (int)(0*2400/100*INDICATORBRIGHTNESS); //led R
      TIM8->CCR4 = (int)(100*2400/100*INDICATORBRIGHTNESS); //led G
      TIM8->CCR3 = (int)(0*2400/100*INDICATORBRIGHTNESS); //led B
    }
    else if (cellVoltage < NORMALVOLTAGE && cellVoltage >= LOWVOLTAGE) {
      voltageInRange = cellVoltage - LOWVOLTAGE;
      voltageRatio = voltageInRange / voltageFullRange;

      TIM8->CCR2 = (int)(100*(1-voltageRatio)*2400/100*INDICATORBRIGHTNESS); //led R
      TIM8->CCR4 = (int)(100*voltageRatio*2400/100*INDICATORBRIGHTNESS); //led G
      TIM8->CCR3 = (int)(0*2400/100*INDICATORBRIGHTNESS); //led B
    }
    else if (cellVoltage < LOWVOLTAGE) {
      TIM8->CCR4 = (int)(0*2400/100*INDICATORBRIGHTNESS); //led G
      TIM8->CCR3 = (int)(0*2400/100*INDICATORBRIGHTNESS); //led B
      if (taskCounter % 4 == 0) {
        if (heartBeatCounter == 0) TIM8->CCR2 = (int)(100*2400/100*INDICATORBRIGHTNESS); //led R;
        else if (heartBeatCounter == 3) TIM8->CCR2 = (int)(0*2400/100*INDICATORBRIGHTNESS); //led R;
        else if (heartBeatCounter == 5) TIM8->CCR2 = (int)(100*2400/100*INDICATORBRIGHTNESS); //led R;
        else if (heartBeatCounter == 8) TIM8->CCR2 = (int)(0*2400/100*INDICATORBRIGHTNESS); //led R;
        else if (heartBeatCounter == 12) heartBeatCounter = -1;
        heartBeatCounter++;
      }
    }
    else {
      TIM8->CCR2 = (int)(100*2400/100*INDICATORBRIGHTNESS); //led R
      TIM8->CCR4 = (int)(100*2400/100*INDICATORBRIGHTNESS); //led G
      TIM8->CCR3 = (int)(100*2400/100*INDICATORBRIGHTNESS); //led B
    }

    osDelay(20);
  }
  /* USER CODE END 5 */
}

/* StartSensorTask function */
void StartSensorTask(void const * argument)
{
  /* USER CODE BEGIN StartSensorTask */
  uint16_t taskCounter = 0;
  float gyroBuffer[3];
  float compassBuffer[3];
  float accelerometerBuffer[3] = {0};
  //float temperatureBuffer[1] = {0};
  float temperatureBufferGyro[1] = {0};
  /* Infinite loop */
  for(;;)
  {
    taskCounter++;

    rawWheel3 = TIM1->CNT;   // jobb
    rawWheel2 = (TIM2->CNT); // bal
    rawWheel1 = (TIM3->CNT)*-1;

    posWheel1_prev = posWheel1;
    posWheel2_prev = posWheel2;
    posWheel3_prev = posWheel3;

    spdWheel1_prev = spdWheel1;
    spdWheel2_prev = spdWheel2;
    spdWheel3_prev = spdWheel3;

    posWheel1 = rawWheel1*toMeterFactor;
    posWheel2 = rawWheel2*toMeterFactor;
    posWheel3 = rawWheel3*toMeterFactor;

    if (fabs(posWheel1-posWheel1_prev) > 100) spdWheel1 = spdWheel1_prev;
    else spdWheel1 = (posWheel1 - posWheel1_prev);
    if (fabs(posWheel2-posWheel2_prev) > 100) spdWheel2 = spdWheel2_prev;
    else spdWheel2 = (posWheel2 - posWheel2_prev);
    if (fabs(posWheel3-posWheel3_prev) > 100) spdWheel3 = spdWheel3_prev;
    else spdWheel3 = (posWheel3 - posWheel3_prev);

    spdWheel1Filtered = filter2(spdWheel1Filtered, spdWheel1, 0.35);
    spdWheel2Filtered = filter2(spdWheel2Filtered, spdWheel2, 0.35);
    spdWheel3Filtered = filter2(spdWheel3Filtered, spdWheel3, 0.35);

    //spdWheel1Norm = spdWheel1Filtered * 200;
    spdWheel2Norm = spdWheel2Filtered * 200;
    spdWheel3Norm = spdWheel3Filtered * 200;

    if (taskCounter % 4 == 0){
      /* Read Gyro Angular data */
      BSP_GYRO_GetXYZ(gyroBuffer);

      gyroX = gyroBuffer[0];
      gyroY = gyroBuffer[1];
      gyroZ = gyroBuffer[2];

      BSP_GYRO_GetTemp(temperatureBufferGyro);
      temperatureGyro = temperatureBufferGyro[0];

      /* Read Acceleration*/
      BSP_ACCELERO_GetXYZ(accelerometerBuffer);

      accX = accelerometerBuffer[0];
      accY = accelerometerBuffer[1];
      accZ = accelerometerBuffer[2];

      accXFiltered = filter2(accXFiltered, accX, 0.2);
      accYFiltered = filter2(accYFiltered, accY, 0.2);
      accZFiltered = filter2(accZFiltered, accZ, 0.2);

      accZFilteredKalman = kalman_single(accZ, 60, 10);
      accZFilteredLPF    = LPF(accZ,1,40);
      //roll  = atan2(accYFiltered, sqrt(accXFiltered*accXFiltered + accZFiltered*accZFiltered));
      //pitch = atan2(accXFiltered, sqrt(accYFiltered*accYFiltered + accZFiltered*accZFiltered));

      /* Read Magnetometer*/
      LSM303DLHC_MagReadXYZ(compassBuffer);
      compassX = compassBuffer[0];
      compassY = compassBuffer[1];
      compassZ = compassBuffer[2];

      if (initialCompassCalib == 1){
        compassX_Max = compassX;
        compassX_Min = compassX;
        compassY_Max = compassY;
        compassY_Min = compassY;
        compassZ_Max = compassZ;
        compassZ_Min = compassZ;
        initialCompassCalib = 0;
      }

      if (compassX > compassX_Max) compassX_Max = compassX;
      if (compassY > compassY_Max) compassY_Max = compassY;
      if (compassZ > compassZ_Max) compassZ_Max = compassZ;
      if (compassX < compassX_Min) compassX_Min = compassX;
      if (compassY < compassY_Min) compassY_Min = compassY;
      if (compassZ < compassZ_Min) compassZ_Min = compassZ;

      //The code you quoted first subtracts the minimum raw value from the reading,
      //then divides it by the range between the minimum and maximum raw values,
      //which puts the reading into the range of 0 to 1.
      //It then multiplies the reading by 2 and subtracts 1 to put it in the range of -1 to 1.

      saturateVolatileFloat(&compassX, COMPASS_X_MIN, COMPASS_X_MAX);
      saturateVolatileFloat(&compassY, COMPASS_Y_MIN, COMPASS_Y_MAX);
      saturateVolatileFloat(&compassZ, COMPASS_Z_MIN, COMPASS_Z_MAX);

      compassX_Norm = (compassX - COMPASS_X_MIN) / (COMPASS_X_MAX - COMPASS_X_MIN) * 2 - 1.0;
      compassY_Norm = (compassY - COMPASS_Y_MIN) / (COMPASS_Y_MAX - COMPASS_Y_MIN) * 2 - 1.0;
      compassZ_Norm = (compassZ - COMPASS_Z_MIN) / (COMPASS_Z_MAX - COMPASS_Z_MIN) * 2 - 1.0;

      compassX_NormFiltered = filter2(compassX_NormFiltered, compassX_Norm, 0.3);
      compassY_NormFiltered = filter2(compassY_NormFiltered, compassY_Norm, 0.3);
      compassZ_NormFiltered = filter2(compassZ_NormFiltered, compassZ_Norm, 0.3);

      fNormAcc = sqrt((accXFiltered*accXFiltered)+(accYFiltered*accYFiltered)+(accZFiltered*accZFiltered));

      fSinRoll = accYFiltered/fNormAcc;
      fCosRoll = sqrt(1.0-(fSinRoll * fSinRoll));
      fSinPitch = -accXFiltered/fNormAcc;
      fCosPitch = sqrt(1.0-(fSinPitch * fSinPitch));

      if ( fSinRoll >0) {
        if (fCosRoll>0) roll = acos(fCosRoll)*180/PI;
        else            roll = acos(fCosRoll)*180/PI + 180;
      }
      else {
        if (fCosRoll>0) roll = acos(fCosRoll)*180/PI + 360;
        else            roll = acos(fCosRoll)*180/PI + 180;
      }

      if ( fSinPitch >0) {
        if (fCosPitch>0) pitch = acos(fCosPitch)*180/PI;
        else             pitch = acos(fCosPitch)*180/PI + 180;
      }
      else {
        if (fCosPitch>0) pitch = acos(fCosPitch)*180/PI + 360;
        else             pitch = acos(fCosPitch)*180/PI + 180;
      }

      if (roll >=360)  roll = 360 - roll;
      if (pitch >=360) pitch = 360 - pitch;

      realRoll = pitch;
      realPitch = roll + 40;

      compassX_NormFilteredTilted = compassX_NormFiltered*fCosPitch+compassZ_NormFiltered*fSinPitch;
      compassY_NormFilteredTilted = compassX_NormFiltered*fSinRoll*fSinPitch+compassY_NormFiltered*fCosRoll-compassZ_NormFiltered*fSinRoll*fCosPitch;
      //xh=cx*cos(ayf)+cy*sin(ayf)*sin(axf)-cz*cos(axf)*sin(ayf);
      //yh=cy*cos(axf)+cz*sin(axf);

      //compassX_NormFilteredTilted = compassX_NormFiltered*fCosRoll + compassY_NormFiltered*fSinRoll*fSinPitch - compassZ_NormFiltered*fCosPitch*fSinRoll;
      //compassY_NormFilteredTilted = compassY_NormFiltered*fCosPitch + compassZ_NormFiltered*fSinPitch;

      heading = (float) ((atan2f((float)compassY_NormFilteredTilted,(float)compassX_NormFilteredTilted))*180)/PI;
      heading += 180;

      if (heading < 0) heading = heading + 360;

      rawADC = HAL_ADC_GetValue(&hadc1);
      batteryVoltage = rawADC/198.8;
      cellVoltage = batteryVoltage / BATTERYCELLS;
      //cellVoltage = 2.9;
    }

    osDelay(5);
  }
  /* USER CODE END StartSensorTask */
}

/* StartControlTask function */
void StartControlTask(void const * argument)
{
  /* USER CODE BEGIN StartControlTask */
  /* Infinite loop */
  for(;;)
  {

    //referenceSpeedWheel1 = referenceSpeed * cosf(referenceAngle * PI / 180.0) + radius * referenceTurn;
    //referenceSpeedWheel2 = referenceSpeed * (-0.5 * cosf(referenceAngle * PI / 180.0) + 0.866 * sinf(referenceAngle * PI / 180.0)) + radius * referenceTurn;
    //referenceSpeedWheel3 = referenceSpeed * (-0.5 * cosf(referenceAngle * PI / 180.0) - 0.866 * sinf(referenceAngle * PI / 180.0)) + radius * referenceTurn;

    referenceSpeedWheel2 = 0;
    referenceSpeedWheel3 = 0;

    if (referenceSpeed > 0) {
      activeDampingEna = 1;
    }

    if ((referenceAngle >= 0) && (referenceAngle < 90)) //1st quadrant
    {
        referenceSpeedWheel2 = referenceSpeed;
        referenceSpeedWheel3 = -referenceSpeed * cosf(referenceAngle * PI / 180.0 * 2);
    }
    else if ((referenceAngle >= 90) && (referenceAngle < 180)) //2nd quadrant
    {
        referenceSpeedWheel2 = -referenceSpeed * cosf(referenceAngle * PI / 180.0 * 2);
        referenceSpeedWheel3 = referenceSpeed;
    }
    else if ((referenceAngle >= 180) && (referenceAngle < 270)) //3rd quadrant
    {
        referenceSpeedWheel2 = -referenceSpeed;
        referenceSpeedWheel3 = referenceSpeed * cosf(referenceAngle * PI / 180.0 * 2);
    }
    else if ((referenceAngle >= 270) && (referenceAngle <= 360)) //4th quadrant
    {
        referenceSpeedWheel2 = referenceSpeed * cosf(referenceAngle * PI / 180.0 * 2);
        referenceSpeedWheel3 = -referenceSpeed;
    }

    /*
    spdErrorWheel1Before = spdErrorWheel1;
    spdErrorWheel1 = referenceSpeedWheel1 - spdWheel1Norm;
    spdIntErrorWheel1 = spdIntErrorWheel1 + spdErrorWheel1 + antiWindup * (forceWheel1 - forceWheel1BeforeSaturation);
    spdDerivatedErrorWheel1 = spdErrorWheel1 - spdErrorWheel1Before;

    forceWheel1 = (int)(ctrlP * spdErrorWheel1 + ctrlI * spdIntErrorWheel1 + ctrlD * spdDerivatedErrorWheel1);
    forceWheel1BeforeSaturation = forceWheel1;
    */
    spdErrorWheel2Before = spdErrorWheel2;
    spdErrorWheel2 = referenceSpeedWheel2 - spdWheel2Norm;
    spdIntErrorWheel2 = spdIntErrorWheel2 + spdErrorWheel2 + antiWindup * (forceWheel2 - forceWheel2BeforeSaturation);
    spdDerivatedErrorWheel2 = spdErrorWheel2 - spdErrorWheel2Before;

    forceWheel2 = (int)(ctrlP * spdErrorWheel2 + ctrlI * spdIntErrorWheel2 + ctrlD * spdDerivatedErrorWheel2);
    forceWheel2BeforeSaturation = forceWheel2;

    spdErrorWheel3Before = spdErrorWheel3;
    spdErrorWheel3 = referenceSpeedWheel3 - spdWheel3Norm;
    spdIntErrorWheel3 = spdIntErrorWheel3 + spdErrorWheel3 + antiWindup * (forceWheel3 - forceWheel3BeforeSaturation);
    spdDerivatedErrorWheel3 = spdErrorWheel3 - spdErrorWheel3Before;

    forceWheel3 = (int)(ctrlP * spdErrorWheel3 + ctrlI * spdIntErrorWheel3 + ctrlD * spdDerivatedErrorWheel3);
    forceWheel3BeforeSaturation = forceWheel3;

    //if ((absFloat(referenceSpeed) < 0.05) && (absFloat(spdErrorWheel1) < 0.1)){
    //  spdIntErrorWheel1-=spdIntErrorWheel1*0.05;
    //}

    ////// PWM OUT //////
    //saturateInteger(&forceWheel1, -100, 100);
    //absForceWheel1 = ABS(forceWheel1);
    absForceWheel2_prev = absForceWheel2;
    absForceWheel3_prev = absForceWheel3;

    saturateInteger(&forceWheel2, -90, 90);
    absForceWheel2 = ABS(forceWheel2);
    saturateInteger(&forceWheel3, -90, 90);
    absForceWheel3 = ABS(forceWheel3);

    absForceWheel2Float = absForceWheel2;
    absForceWheel3Float = absForceWheel3;

    if (absForceWheel2Float - absForceWheel2_prev > speedCtrlRampThreshold){
      absForceWheel2Float = absForceWheel2_prev + speedCtrlRampUpRate;
    }
    else {
      absForceWheel2Float = absForceWheel2Float;
    }

    if (absForceWheel3Float - absForceWheel3_prev > speedCtrlRampThreshold){
      absForceWheel3Float = absForceWheel3_prev + speedCtrlRampUpRate;
    }
    else {
      absForceWheel3Float = absForceWheel3Float;
    }

    if (absForceWheel2_prev - absForceWheel2Float > speedCtrlRampThreshold){
      absForceWheel2Float = absForceWheel2_prev - speedCtrlRampDownRate;
    }
    else {
      absForceWheel2Float = absForceWheel2Float;
    }

    if (absForceWheel3_prev - absForceWheel3Float > speedCtrlRampThreshold){
      absForceWheel3Float = absForceWheel3_prev - speedCtrlRampDownRate;
    }
    else {
      absForceWheel3Float = absForceWheel3Float;
    }

    absForceWheel2 = (uint16_t)absForceWheel2Float;
    absForceWheel3 = (uint16_t)absForceWheel3Float;

    if ((referenceSpeed < 1) && (activeDampingEna == 1)){
      forceWheel2 = (int)(-0.8 * realPitch);
      forceWheel3 = (int)(-0.8 * realPitch);
      saturateInteger(&forceWheel2, -40, 40);
      absForceWheel2 = ABS(forceWheel2);
      saturateInteger(&forceWheel3, -40, 40);
      absForceWheel3 = ABS(forceWheel3);
    }

    /*
    absForceWheel1 = 0;
    absForceWheel2 = 0;
    absForceWheel3 = 0;
    */
    /*
    if (forceWheel1 <= 0) {
      TIM4->CCR1 = 0;
      TIM4->CCR2 = absForceWheel1*2400/100;
    }
    else {
      TIM4->CCR1 = absForceWheel1*2400/100;
      TIM4->CCR2 = 0;
    }
    */
    if (forceWheel2 <= 0) { // bal
      TIM4->CCR3 = 0;
      TIM4->CCR4 = absForceWheel2*2400/100;
    }
    else {
      TIM4->CCR3 = absForceWheel2*2400/100;
      TIM4->CCR4 = 0;
    }

    if (forceWheel3 <= 0) { // jobb
      TIM15->CCR1 = 0;
      TIM15->CCR2 = absForceWheel3*2400/100;
    }
    else {
      TIM15->CCR1 = absForceWheel3*2400/100;
      TIM15->CCR2 = 0;
    }

    /*
    TIM4->CCR1 = 0*2400/100;
    TIM4->CCR2 = 0*2400/100;
    TIM4->CCR3 = 10*2400/100; // bal
    TIM4->CCR4 = 0*2400/100;
    TIM15->CCR1 = 10*2400/100; // jobb
    TIM15->CCR2 = 0*2400/100;
    */
    osDelay(5);
  }
  /* USER CODE END StartControlTask */
}

void HAL_TIM_PeriodElapsedCallback(TIM_HandleTypeDef *htim)
{
  if (htim->Instance == TIM7) {
    HAL_IncTick();
  }
}

void Error_Handler(void)
{
  while(1)
  {
  }
}

/************************ (C) COPYRIGHT STMicroelectronics *****END OF FILE****/
